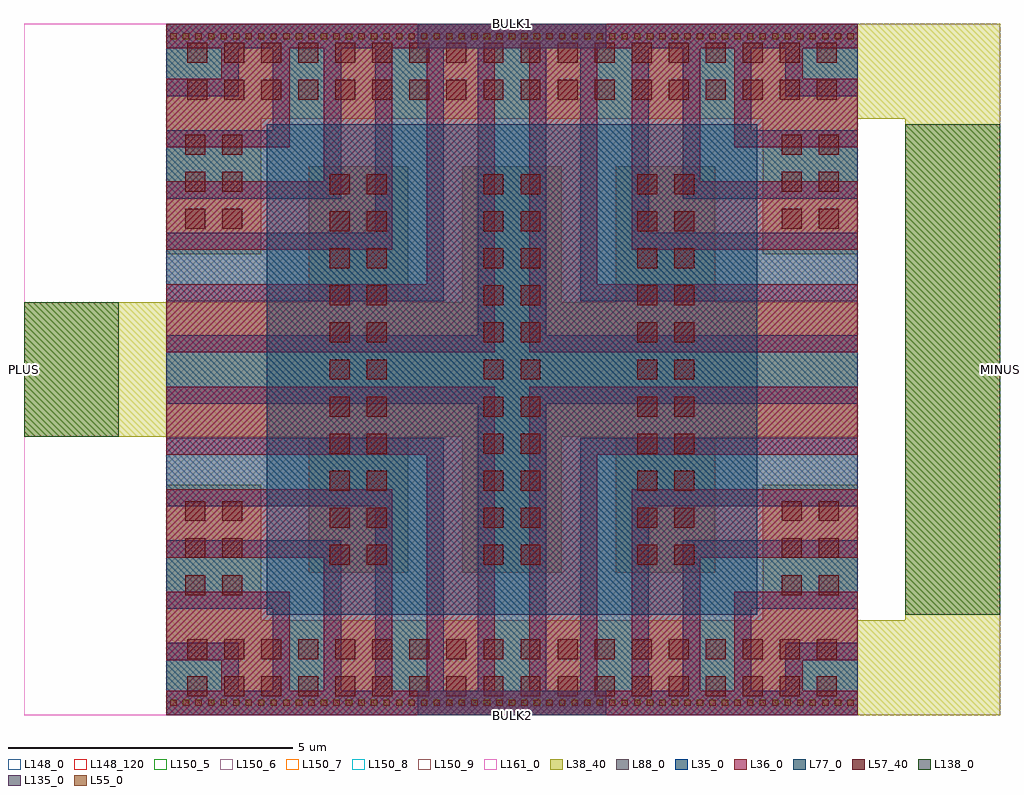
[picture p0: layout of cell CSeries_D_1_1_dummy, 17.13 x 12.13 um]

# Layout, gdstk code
import gdstk
lib = gdstk.Library(unit=1e-6, precision=1e-09)
def R(c, l, rs):  # rectangles x0, y0, x1, y1
    for r in rs: c.add(gdstk.rectangle(r[:2], r[2:], *l))
def A(c, l, x, y, w, h, nx, ny, dx, dy):  # array of equal rectangles
    R(c, l, [(x+i*dx, y+j*dy, x+i*dx+w, y+j*dy+h) for i in range(nx) for j in range(ny)])
def P(c, l, *ps):  # polygons
    for p in ps: c.add(gdstk.Polygon(p, *l))
L35_0 = (35, 0)
L36_0 = (36, 0)
L38_40 = (38, 40)
L55_0 = (55, 0)
L57_40 = (57, 40)
L77_0 = (77, 0)
L88_0 = (88, 0)
L135_0 = (135, 0)
L138_0 = (138, 0)
L148_0 = (148, 0)
L148_120 = (148, 120)
L150_5 = (150, 5)
L150_6 = (150, 6)
L150_7 = (150, 7)
L150_8 = (150, 8)
L150_9 = (150, 9)
L161_0 = (161, 0)

cseries_d_1_1_dummy = lib.new_cell('CSeries_D_1_1_dummy')
R(cseries_d_1_1_dummy, L35_0, [(-1.76,-1.76,10.37,-1.33), (-1.695,-1.76,-0.495,-1.095), (0.105,-1.76,1.305,0.705), (1.905,-1.76,3.105,2.505), (3.705,-1.76,4.905,10.37), (5.505,-1.76,6.705,2.505), (7.305,-1.76,8.505,0.705), (9.105,-1.76,10.305,-1.095), (-1.76,-1.695,-0.495,-0.495), (9.105,-1.695,10.37,-0.495), (-1.76,0.105,1.305,1.305), (7.305,0.105,10.37,1.305), (-1.76,1.905,3.105,3.105), (5.505,1.905,10.37,3.105), (-1.76,3.705,10.37,4.905), (-1.76,5.505,3.105,6.705), (5.505,5.505,10.37,6.705), (1.905,6.105,3.105,10.37), (5.505,6.105,6.705,10.37), (-1.76,7.305,1.305,8.505), (7.305,7.305,10.37,8.505), (0.105,7.905,1.305,10.37), (7.305,7.905,8.505,10.37), (-1.76,9.105,-0.495,10.305), (9.105,9.105,10.37,10.305), (-1.695,9.705,-0.495,10.37), (9.105,9.705,10.305,10.37), (-1.76,9.94,10.37,10.37)])
R(cseries_d_1_1_dummy, L36_0, [(-1.76,-1.76,10.37,-1.33), (-0.795,-1.76,0.405,-0.195), (1.005,-1.76,2.205,1.605), (2.805,-1.76,4.005,3.405), (4.605,-1.76,5.805,3.405), (6.405,-1.76,7.605,1.605), (8.205,-1.76,9.405,-0.195), (-1.76,-0.795,0.405,0.405), (8.205,-0.795,10.37,0.405), (-1.76,1.005,2.205,2.205), (6.405,1.005,10.37,2.205), (-1.76,2.805,4.005,4.005), (4.605,2.805,10.37,4.005), (-1.76,4.605,4.005,5.805), (4.605,4.605,10.37,5.805), (2.805,5.205,4.005,10.37), (4.605,5.205,5.805,10.37), (-1.76,6.405,2.205,7.605), (6.405,6.405,10.37,7.605), (1.005,7.005,2.205,10.37), (6.405,7.005,7.605,10.37), (-1.76,8.205,0.405,9.405), (8.205,8.205,10.37,9.405), (-0.795,8.805,0.405,10.37), (8.205,8.805,9.405,10.37), (-1.76,9.94,10.37,10.37)])
A(cseries_d_1_1_dummy, L38_40, 0.74, 0.74, 1.74, 2.385, 3, 1, 2.695, 0)
R(cseries_d_1_1_dummy, L38_40, [(10.37,-1.76,12.87,-0.1), (11.21,-1.76,12.87,10.37), (-4.26,3.125,10.37,5.485), (0.74,5.485,2.48,7.87), (0.74,5.485,2.48,7.87), (3.435,5.485,5.175,7.87), (3.435,5.485,5.175,7.87), (6.13,5.485,7.87,7.87), (6.13,5.485,7.87,7.87), (10.37,8.71,12.87,10.37)])
P(cseries_d_1_1_dummy, L38_40, [(-0.1,8.71),(8.71,8.71),(8.71,6.325),(10.37,6.325),(10.37,10.37),(-1.76,10.37),(-1.76,6.325),(-0.1,6.325)],
  [(-1.76,2.285),(-1.76,-1.76),(10.37,-1.76),(10.37,2.285),(8.71,2.285),(8.71,-0.1),(-0.1,-0.1),(-0.1,2.285)])
A(cseries_d_1_1_dummy, L55_0, -1.69, -1.6, 0.11, 0.11, 55, 2, 0.22, 11.7)
A(cseries_d_1_1_dummy, L57_40, -1.395, -1.43, 0.35, 0.35, 18, 2, 0.65, 0.65)
A(cseries_d_1_1_dummy, L57_40, -1.43, 0.347, 0.35, 0.35, 1, 3, 0, 0.65)
A(cseries_d_1_1_dummy, L57_40, -0.78, 0.347, 0.35, 0.35, 1, 3, 0, 0.65)
A(cseries_d_1_1_dummy, L57_40, 9.04, 0.347, 0.35, 0.35, 1, 3, 0, 0.65)
A(cseries_d_1_1_dummy, L57_40, 9.69, 0.347, 0.35, 0.35, 1, 3, 0, 0.65)
A(cseries_d_1_1_dummy, L57_40, 1.11, 0.88, 0.35, 0.35, 1, 11, 0, 0.65)
A(cseries_d_1_1_dummy, L57_40, 1.76, 0.88, 0.35, 0.35, 1, 11, 0, 0.65)
A(cseries_d_1_1_dummy, L57_40, 3.805, 0.88, 0.35, 0.35, 1, 11, 0, 0.65)
A(cseries_d_1_1_dummy, L57_40, 4.455, 0.88, 0.35, 0.35, 1, 11, 0, 0.65)
A(cseries_d_1_1_dummy, L57_40, 6.5, 0.88, 0.35, 0.35, 1, 11, 0, 0.65)
A(cseries_d_1_1_dummy, L57_40, 7.15, 0.88, 0.35, 0.35, 1, 11, 0, 0.65)
A(cseries_d_1_1_dummy, L57_40, -1.43, 6.772, 0.35, 0.35, 1, 3, 0, 0.65)
A(cseries_d_1_1_dummy, L57_40, -0.78, 6.772, 0.35, 0.35, 1, 3, 0, 0.65)
A(cseries_d_1_1_dummy, L57_40, 9.04, 6.772, 0.35, 0.35, 1, 3, 0, 0.65)
A(cseries_d_1_1_dummy, L57_40, 9.69, 6.772, 0.35, 0.35, 1, 3, 0, 0.65)
A(cseries_d_1_1_dummy, L57_40, -1.395, 9.04, 0.35, 0.35, 18, 2, 0.65, 0.65)
R(cseries_d_1_1_dummy, L77_0, [(0,0,8.61,8.61)])
R(cseries_d_1_1_dummy, L88_0, [(-1.76,-1.76,10.37,10.37)])
R(cseries_d_1_1_dummy, L135_0, [(2.655,-1.76,5.955,-1.33), (2.655,9.94,5.955,10.37)])
R(cseries_d_1_1_dummy, L138_0, [(11.21,0,12.87,8.61), (-4.26,3.125,-2.6,5.485)])
R(cseries_d_1_1_dummy, L148_0, [(-4.26,-1.76,12.87,10.37)])
R(cseries_d_1_1_dummy, L148_120, [(-4.26,-1.76,12.87,10.37)])
R(cseries_d_1_1_dummy, L150_5, [(-4.26,-1.76,12.87,10.37)])
R(cseries_d_1_1_dummy, L150_6, [(-4.26,-1.76,12.87,10.37)])
R(cseries_d_1_1_dummy, L150_7, [(-4.26,-1.76,12.87,10.37)])
R(cseries_d_1_1_dummy, L150_8, [(-4.26,-1.76,12.87,10.37)])
R(cseries_d_1_1_dummy, L150_9, [(-4.26,-1.76,12.87,10.37)])
R(cseries_d_1_1_dummy, L161_0, [(-4.26,-1.76,12.87,10.37)])
cseries_d_1_1_dummy.add(gdstk.Label('BULK1', (4.305,10.37), layer=135, texttype=0))
cseries_d_1_1_dummy.add(gdstk.Label('BULK2', (4.305,-1.76), layer=135, texttype=0))
cseries_d_1_1_dummy.add(gdstk.Label('PLUS', (-4.26,4.305), layer=138, texttype=0))
cseries_d_1_1_dummy.add(gdstk.Label('MINUS', (12.87,4.305), layer=138, texttype=0))

lib.write_gds('CSeries_D_1_1_dummy.gds')
